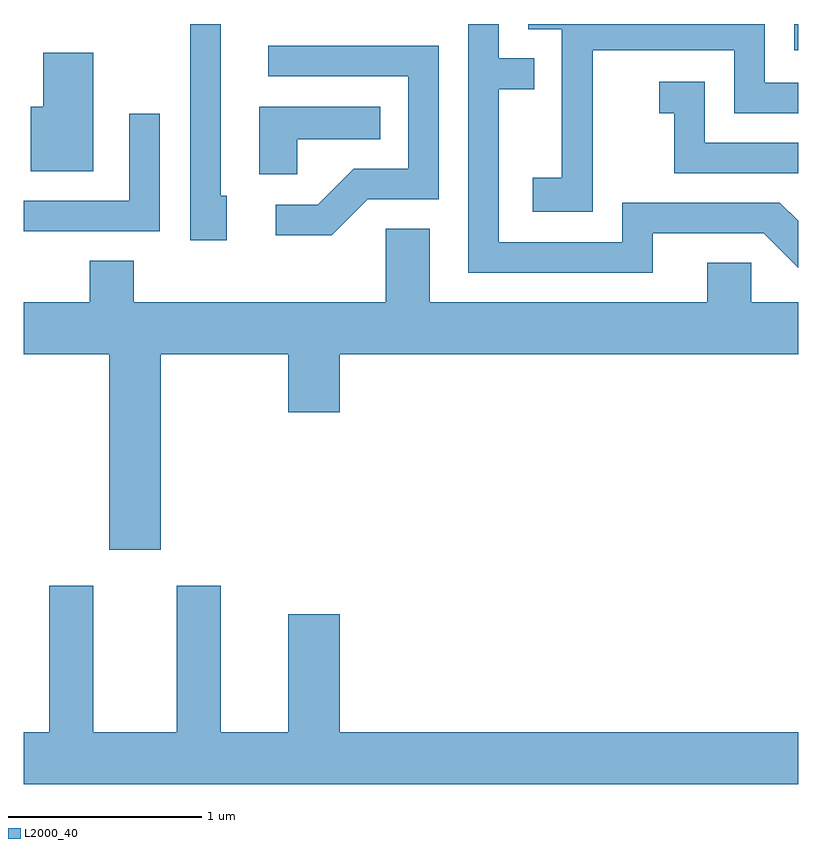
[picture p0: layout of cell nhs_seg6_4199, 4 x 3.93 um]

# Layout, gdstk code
import gdstk
lib = gdstk.Library(unit=1e-6, precision=1e-09)
def R(c, l, rs):  # rectangles x0, y0, x1, y1
    for r in rs: c.add(gdstk.rectangle(r[:2], r[2:], *l))
def P(c, l, *ps):  # polygons
    for p in ps: c.add(gdstk.Polygon(p, *l))
L2000_40 = (2000, 40)

nhs_seg6_4199 = lib.new_cell('nhs_seg6_4199')
R(nhs_seg6_4199, L2000_40, [(317.591,1576.026,317.611,1576.162)])
P(nhs_seg6_4199, L2000_40, [(316.549,1576.026),(317.281,1576.026),(317.281,1575.701),(317.611,1575.701),(317.611,1575.859),(317.439,1575.859),(317.439,1576.162),(316.216,1576.162),(316.216,1576.136),(316.391,1576.136),(316.391,1575.369),(316.241,1575.369),(316.241,1575.191),(316.549,1575.191)],
  [(316.859,1575.081),(317.434,1575.081),(317.611,1574.904),(317.611,1575.145),(317.517,1575.239),(316.701,1575.239),(316.701,1575.034),(316.064,1575.034),(316.064,1575.826),(316.248,1575.826),(316.248,1575.984),(316.064,1575.984),(316.064,1576.162),(315.906,1576.162),(315.906,1574.876),(316.859,1574.876)],
  [(314.659,1575.274),(314.629,1575.274),(314.629,1576.162),(314.471,1576.162),(314.471,1575.046),(314.659,1575.046)],
  [(315.387,1575.256),(315.754,1575.256),(315.754,1576.049),(314.873,1576.049),(314.873,1575.891),(315.596,1575.891),(315.596,1575.414),(315.314,1575.414),(315.129,1575.229),(314.913,1575.229),(314.913,1575.071),(315.202,1575.071)],
  [(313.969,1576.014),(313.711,1576.014),(313.711,1575.734),(313.646,1575.734),(313.646,1575.401),(313.969,1575.401)],
  [(317.611,1575.549),(317.129,1575.549),(317.129,1575.864),(316.893,1575.864),(316.893,1575.701),(316.971,1575.701),(316.971,1575.391),(317.611,1575.391)],
  [(315.024,1575.566),(315.453,1575.566),(315.453,1575.734),(314.826,1575.734),(314.826,1575.386),(315.024,1575.386)],
  [(314.314,1575.698),(314.156,1575.698),(314.156,1575.249),(313.611,1575.249),(313.611,1575.091),(314.314,1575.091)],
  [(314.319,1574.456),(314.976,1574.456),(314.976,1574.156),(315.244,1574.156),(315.244,1574.456),(317.611,1574.456),(317.611,1574.724),(317.369,1574.724),(317.369,1574.929),(317.141,1574.929),(317.141,1574.724),(315.709,1574.724),(315.709,1575.104),(315.481,1575.104),(315.481,1574.724),(314.179,1574.724),(314.179,1574.939),(313.951,1574.939),(313.951,1574.724),(313.611,1574.724),(313.611,1574.456),(314.051,1574.456),(314.051,1573.446),(314.319,1573.446)],
  [(317.611,1572.504),(315.244,1572.504),(315.244,1573.114),(314.976,1573.114),(314.976,1572.504),(314.629,1572.504),(314.629,1573.259),(314.401,1573.259),(314.401,1572.504),(313.969,1572.504),(313.969,1573.259),(313.741,1573.259),(313.741,1572.504),(313.611,1572.504),(313.611,1572.236),(317.611,1572.236)])

lib.write_gds('nhs_seg6_4199.gds')
